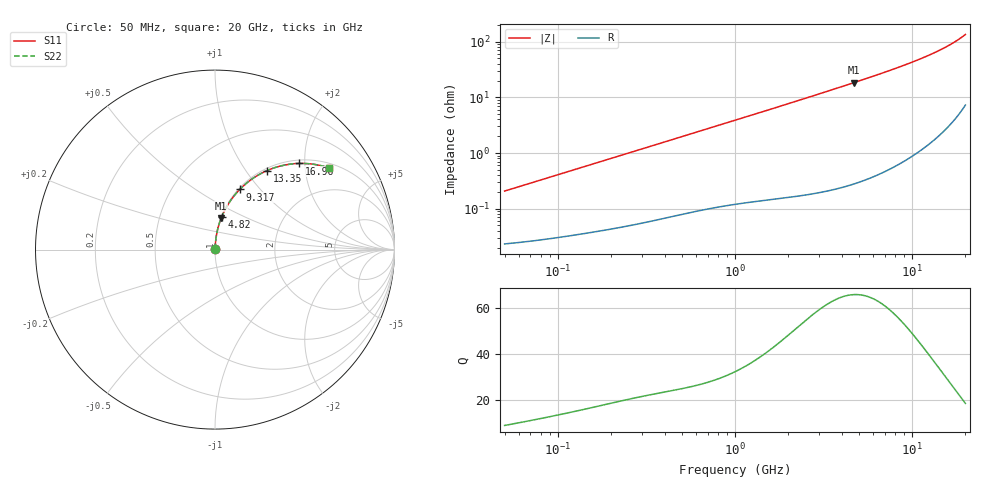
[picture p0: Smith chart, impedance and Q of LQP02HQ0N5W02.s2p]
!Murata Part Number: LQP02HQ0N5W02
!These Parameters are Measured in Series Mode Connection
!  o--[Z]--o
!Port1  Port2
!  o-------o
!Freq. Start=50[MHz] Stop=20[GHz], 401[Steps]
# Hz S RI R 50
!Freq.(Hz) S11(Real) S11(Imag) S21(Real) S21(Imag) S12(Real) S12(Imag) S22(Real) S22(Imag)
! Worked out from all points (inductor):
!   401 points, 50 MHz to 20 GHz, reference 50 ohm
!   read as one part in series: L = 653 pH near 51.52 MHz
!   highest Q = 65.9 at 4.678 GHz (marker M1), where L = 621 pH
!   S11 on the Smith chart (normalised r, x): 50 MHz: 1.00, +0.00; 4.82 GHz: 1.01, +0.38; 9.317 GHz: 1.02, +0.78; 13.35 GHz: 1.03, +1.26; 16.96 GHz: 1.07, +1.88; 20 GHz: 1.15, +2.68
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5e7  0.000238 0.00206  0.9998 -0.00206  0.9998 -0.00206  0.000238 0.00206
5.152053e7  0.00024 0.00212  0.9998 -0.00212  0.9998 -0.00212  0.00024 0.00212
1.364002e8  0.000382 0.0055  0.9996 -0.0055  0.9996 -0.0055  0.000382 0.0055
3.721004e8  0.000855 0.0147  0.9991 -0.0147  0.9991 -0.0147  0.000855 0.0147
1e9  0.00268 0.0385  0.9973 -0.0385  0.9973 -0.0385  0.00268 0.0385
1.714689e9  0.0058 0.0654  0.9942 -0.0654  0.9942 -0.0654  0.0058 0.0654
2.728004e9  0.0127 0.1035  0.9873 -0.1035  0.9873 -0.1035  0.0127 0.1035
3.626126e9  0.0214 0.137  0.9786 -0.137  0.9786 -0.137  0.0214 0.137
4.677679e9  0.0348 0.1758  0.9652 -0.1758  0.9652 -0.1758  0.0348 0.1758
4.81993e9  0.0369 0.181  0.9631 -0.181  0.9631 -0.181  0.0369 0.181
6.125241e9  0.0591 0.228  0.9409 -0.228  0.9409 -0.228  0.0591 0.228
7.442007e9  0.0872 0.2739  0.9128 -0.2739  0.9128 -0.2739  0.0872 0.2739
9.316812e9  0.1378 0.3352  0.8622 -0.3352  0.8622 -0.3352  0.1378 0.3352
1.034674e10  0.171 0.3661  0.829 -0.3661  0.829 -0.3661  0.171 0.3661
1.131968e10  0.2058 0.393  0.7942 -0.393  0.7942 -0.393  0.2058 0.393
1.238412e10  0.2478 0.4194  0.7522 -0.4194  0.7522 -0.4194  0.2478 0.4194
1.334722e10  0.2893 0.44  0.7107 -0.44  0.7107 -0.44  0.2893 0.44
1.504638e10  0.3697 0.467  0.6303 -0.467  0.6303 -0.467  0.3697 0.467
1.696185e10  0.4694 0.4801  0.5306 -0.4801  0.5306 -0.4801  0.4694 0.4801
1.828096e10  0.5416 0.4765  0.4584 -0.4765  0.4584 -0.4765  0.5416 0.4765
1.940974e10  0.604 0.4645  0.396 -0.4645  0.396 -0.4645  0.604 0.4645
2e10  0.6363 0.4547  0.3637 -0.4547  0.3637 -0.4547  0.6363 0.4547
